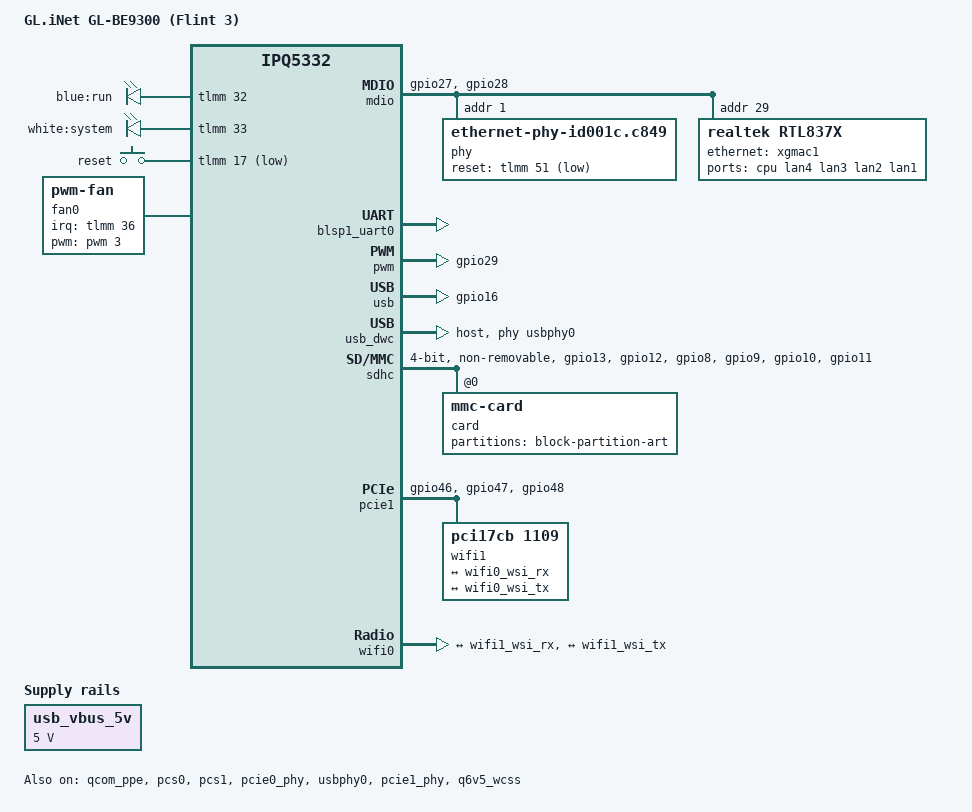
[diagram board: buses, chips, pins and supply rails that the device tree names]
// SPDX-License-Identifier: (GPL-2.0+ OR BSD-3-Clause)

/dts-v1/;

#include <arm64/qcom/ipq5332.dtsi>

#include <dt-bindings/gpio/gpio.h>
#include <dt-bindings/input/input.h>
#include <dt-bindings/leds/common.h>
#include <dt-bindings/clock/qcom,ipq5332-nsscc.h>

/ {
	#address-cells = <0x2>;
	#size-cells = <0x2>;
	model = "GL.iNet GL-BE9300 (Flint 3)";
	compatible = "gl.inet,gl-be9300", "qcom,ipq5332";

	aliases {
		serial0 = &blsp1_uart0;
	};

	chosen {
		stdout-path = "serial0:115200n8";
	};

	reserved-memory {
		#address-cells = <2>;
		#size-cells = <2>;
		ranges;

		/* TZ apps region is SBL-configured per board; Flint 3 vendor
		 * DT places it at 0x49b00000 (BE6500 uses 0x49600000). */
		tzapp: tzapp@49b00000 {
			reg = <0x0 0x49b00000 0x0 0x00600000>;
			no-map;
		};

		/*
		 * UserPD host DDR / BDF window. Deliberately an overlapping
		 * sub-window of the tail of q6_region: the Q6 images end below
		 * 0x4b500000, so the code occupies the first 12 MiB and this
		 * the remaining 23 MiB. 0x4a900000 + 0xc00000 = 0x4b500000,
		 * exactly what the vendor DT states as qcom,bdf-addr.
		 * of_reserved_mem logs "OVERLAP DETECTED" for this and
		 * continues; that is expected, not a fault.
		 */
		q6_host_ddr: host-ddr@4b500000 {
			reg = <0x0 0x4b500000 0x0 0x01700000>;
			no-map;
		};

		m3_dump: m3-dump@4cc00000 {
			reg = <0x0 0x4cc00000 0x0 0x100000>;
			no-map;
		};

		/* Not consumed by ath12k; reserved so Linux keeps out of the
		 * coresight ETR dump window the vendor DT also reserves. */
		q6_etr: q6-etr-dump@4cd00000 {
			reg = <0x0 0x4cd00000 0x0 0x100000>;
			no-map;
		};

		q6_caldb: q6-caldb@4ce00000 {
			reg = <0x0 0x4ce00000 0x0 0x500000>;
			no-map;
		};

		/*
		 * Persist the kernel log across a reboot. This board has no
		 * usable serial console, so a boot loop is otherwise silent:
		 * ramoops keeps dmesg and the console in RAM through a warm
		 * reset and exposes them under /sys/fs/pstore on the next boot
		 * (including a TFTP initramfs rescue boot).
		 *
		 * q6-caldb now ends at 0x4d2fffff and mlo-global-mem starts at
		 * 0x4db00000, so 0x4d300000..0x4dafffff (8 MiB) is unreserved and
		 * ramoops sits at the top of it - verified against the live
		 * "OF: reserved mem" map, not just the DTS.
		 * Deliberately mapped (no "no-map"): ramoops must write here.
		 */
		ramoops@4da00000 {
			compatible = "ramoops";
			reg = <0x0 0x4da00000 0x0 0x100000>;
			console-size = <0x40000>;
			record-size = <0x20000>;
			pmsg-size = <0x20000>;
		};

		mlo_mem: mlo-global-mem@4db00000 {
			reg = <0x0 0x4db00000 0x0 0x01200000>;
			no-map;
		};

		qcn9274_host_ddr: qcn9274-host-ddr@4ed00000 {
			reg = <0x0 0x4ed00000 0x0 0x03200000>;
			no-map;
		};
	};

	soc@0 {
		leds {
			compatible = "gpio-leds";
			pinctrl-0 = <&leds_pins>;
			pinctrl-names = "default";
			status = "okay";

			led@32 {
				label = "blue:run";
				gpios = <&tlmm 32 GPIO_ACTIVE_HIGH>;
				default-state = "on";
			};

			led@33 {
				label = "white:system";
				gpios = <&tlmm 33 GPIO_ACTIVE_HIGH>;
				default-state = "off";
			};
		};

		gpio_keys {
			compatible = "gpio-keys";
			pinctrl-0 = <&button_pins>;
			pinctrl-names = "default";
			status = "okay";

			reset {
				label = "reset";
				linux,code = <KEY_RESTART>;
				gpios = <&tlmm 17 GPIO_ACTIVE_LOW>;
				linux,input-type = <1>;
			};
		};

		fan0: pwm-fan {
			compatible = "pwm-fan";
			pinctrl-0 = <&fan_pins>;
			pinctrl-names = "default";
			pwms = <&pwm 3 40000 0>;
			interrupt-parent = <&tlmm>;
			interrupts = <36 IRQ_TYPE_EDGE_RISING>;
			pulses-per-revolution = <2>;
			cooling-levels = <36 128 192 255>;
			#cooling-cells = <2>;
		};

		mdio: mdio@90000 {
			compatible = "qcom,ipq4019-mdio";
			reg = <0x90000 0x64>;
			pinctrl-0 = <&mdio1_pins &mdio0_pins>;
			pinctrl-names = "default";
			#address-cells = <1>;
			#size-cells = <0>;
			clocks = <&gcc GCC_MDIO_AHB_CLK>;
			clock-names = "gcc_mdio_ahb_clk";
			status = "disabled";
		};
	};

	thermal-zones {
		cpu-top-thermal {
			polling-delay = <1000>;

			trips {
				fan_trip_high: active-high {
					temperature = <100000>;
					hysteresis = <2000>;
					type = "active";
				};

				fan_trip_med: active-med {
					temperature = <75000>;
					hysteresis = <2000>;
					type = "active";
				};

				fan_trip_low: active-low {
					temperature = <50000>;
					hysteresis = <2000>;
					type = "active";
				};
			};

			cooling-maps {
				fan-active-high {
					cooling-device = <&fan0 3 3>;
					trip = <&fan_trip_high>;
				};

				fan-active-med {
					cooling-device = <&fan0 2 2>;
					trip = <&fan_trip_med>;
				};

				fan-active-low {
					cooling-device = <&fan0 1 1>;
					trip = <&fan_trip_low>;
				};
			};
		};
	};
};

/ {
	usb_vbus_5v: regulator-usb-vbus {
		compatible = "regulator-fixed";
		regulator-name = "usb_vbus_5v";
		regulator-min-microvolt = <5000000>;
		regulator-max-microvolt = <5000000>;
		regulator-boot-on;
		regulator-always-on;
	};
};

&blsp1_uart0 {
	pinctrl-0 = <&serial_0_pins>;
	pinctrl-names = "default";
	status = "okay";
};

&pwm {
	#pwm-cells = <2>;
	pinctrl-0 = <&pwm_pins>;
	pinctrl-names = "default";
	used-pwm-indices = <0>, <0>, <0>, <1>;
	status = "okay";
};

&tlmm {
	leds_pins: leds_pinmux {
		led_blue {
			pins = "gpio32";
			function = "gpio";
			drive-strength = <8>;
			bias-pull-down;
		};

		led_white {
			pins = "gpio33";
			function = "gpio";
			drive-strength = <8>;
			bias-pull-down;
		};
	};

	button_pins: button_pins {
		reset_button {
			pins = "gpio17";
			function = "gpio";
			drive-strength = <8>;
			bias-pull-up;
		};
	};

	pwm_pins: pwm_pinmux {
		pwm1 {
			pins = "gpio29";
			function = "pwm1";
			drive-strength = <8>;
		};
	};

	fan_pins: fan_pins {
		pwr {
			pins = "gpio34";
			function = "gpio";
			bias-pull-up;
			output-high;
		};
		speed {
			pins = "gpio36";
			function = "gpio";
			drive-strength = <8>;
			bias-pull-down;
		};
	};

	usb_pins: usb_pins {
		usb_pwr {
			pins = "gpio16";
			function = "gpio";
			bias-pull-up;
			output-high;
		};
	};

	sdc_default_state: sdc-default-state {
		clk-pins {
			pins = "gpio13";
			function = "sdc_clk";
			drive-strength = <8>;
			bias-disable;
		};

		cmd-pins {
			pins = "gpio12";
			function = "sdc_cmd";
			drive-strength = <8>;
			bias-pull-up;
		};

		data-pins {
			pins = "gpio8", "gpio9", "gpio10", "gpio11";
			function = "sdc_data";
			drive-strength = <8>;
			bias-pull-up;
		};
	};

	pcie1_default: pcie1-default-state {
		clkreq-n-pins {
			pins = "gpio46";
			function = "pcie1_clk";
			drive-strength = <8>;
			bias-pull-up;
		};

		perst-n-pins {
			pins = "gpio47";
			function = "gpio";
			drive-strength = <8>;
			bias-pull-up;
			output-low;
		};

		wake-n-pins {
			pins = "gpio48";
			function = "pcie1_wake";
			drive-strength = <8>;
			bias-pull-up;
		};
	};

	mdio0_pins: mdio0-state {
		mux_0 {
			pins = "gpio25";
			function = "mdc0";
			drive-strength = <8>;
			bias-disable;
		};

		mux_1 {
			pins = "gpio26";
			function = "mdio0";
			drive-strength = <8>;
			bias-pull-up;
		};
	};

	mdio1_pins: mdio1-state {
		mux_0 {
			pins = "gpio27";
			function = "mdc1";
			drive-strength = <8>;
			bias-disable;
		};

		mux_1 {
			pins = "gpio28";
			function = "mdio1";
			drive-strength = <8>;
			bias-pull-up;
		};
	};
};

&mdio {
	status = "okay";
	pinctrl-0 = <&mdio1_pins>;
	pinctrl-names = "default";
	mdio_clk_fixup; /* MDIO clock sequence fix up flag */

	/*
	 * RTL8221B-VB-CG 2.5G WAN PHY. Vendor DT lists two MDIO reset
	 * GPIOs: 51 and 24. Per our May bring-up notes 51 is the RTL8221B
	 * and 24 the RTL8372N switch (BE6500 uses 24 for its PHY — if the
	 * WAN PHY fails to probe, swap to 24 here).
	 */
	phy: ethernet-phy@1 {
		compatible = "ethernet-phy-id001c.c849";
		reg = <1>;
		reset-gpios = <&tlmm 51 GPIO_ACTIVE_LOW>;
		reset-assert-us = <10000>;
		reset-deassert-us = <50000>;
	};

	/*
	 * RTL8372N switch (4x 2.5G LAN + 10G SerDes uplink to xgmac1).
	 * No reset-gpios: U-Boot leaves the switch initialized with SDS0
	 * in 10G mode and port 3 linked; the driver re-inits from there.
	 * The four sdsN-rx/tx-swap flags are required on this board, same as
	 * BE6500. Without them the 10G CPU link still reports up, but no
	 * traffic crosses it in either direction (bench-verified 2026-07-27:
	 * swap_cfg 0x0 = dead LAN path, swap_cfg 0xf = LAN path works).
	 */
	rtl837x: rtl837x-dsa@29 {
		compatible = "realtek,rtl837x";
		#address-cells = <1>;
		#size-cells = <0>;
		reg = <29>;
		rtl837x,sds0mode = "10g-kr";
		gpio-controller;
		#gpio-cells = <2>;

		sds0-rx-swap;
		sds0-tx-swap;
		sds1-rx-swap;
		sds1-tx-swap;

		ports {
			#address-cells = <1>;
			#size-cells = <0>;

			port@3 {
				reg = <3>;
				label = "cpu";
				ethernet = <&xgmac1>;
				phy-mode = "10gbase-r";

				fixed-link {
					speed = <10000>;
					full-duplex;
				};
			};

			/*
			 * Front-panel jack mapping, verified 2026-07-27 by
			 * walking one cable through all four jacks and
			 * watching which netdev gained carrier:
			 * LAN1=port7, LAN2=port6, LAN3=port5, LAN4=port4.
			 * This matches the vendor device tree; the May-2026
			 * note that had lan2/lan3 the other way round was
			 * wrong.
			 */
			port@4 {
				reg = <4>;
				label = "lan4";
				phy-mode = "internal";
			};

			port@5 {
				reg = <5>;
				label = "lan3";
				phy-mode = "internal";
			};

			port@6 {
				reg = <6>;
				label = "lan2";
				phy-mode = "internal";
			};

			port@7 {
				reg = <7>;
				label = "lan1";
				phy-mode = "internal";
			};
		};
	};
};

&qcom_ppe {
	status = "okay";

	ethernet-ports {
		#address-cells = <1>;
		#size-cells = <0>;

		xgmac1: port@1 {
			reg = <1>;
			phy-mode = "10gbase-r";
			label = "lan";
			pcs-handle = <&pcs0_ch0>;
			phy-handle = <&rtl837x>;
			nvmem-cells = <&base_macaddr 2>;
			nvmem-cell-names = "mac-address";
			clocks = <&nsscc NSS_CC_PORT1_MAC_CLK>,
				 <&nsscc NSS_CC_PORT1_RX_CLK>,
				 <&nsscc NSS_CC_PORT1_TX_CLK>;
			clock-names = "mac",
				      "rx",
				      "tx";
			resets = <&nsscc NSS_CC_PORT1_MAC_CLK_ARES>,
				 <&nsscc NSS_CC_PORT1_RX_CLK_ARES>,
				 <&nsscc NSS_CC_PORT1_TX_CLK_ARES>;
			reset-names = "mac",
				      "rx",
				      "tx";

			fixed-link {
				speed = <10000>;
				full-duplex;
				pause;
			};
		};

		xgmac2: port@2 {
			reg = <2>;
			phy-mode = "usxgmii";
			managed = "in-band-status";
			label = "wan";
			pcs-handle = <&pcs1_ch0>;
			phy-handle = <&phy>;
			nvmem-cells = <&base_macaddr 0>;
			nvmem-cell-names = "mac-address";

			clocks = <&nsscc NSS_CC_PORT2_MAC_CLK>,
				 <&nsscc NSS_CC_PORT2_RX_CLK>,
				 <&nsscc NSS_CC_PORT2_TX_CLK>;
			clock-names = "mac",
				      "rx",
				      "tx";
			resets = <&nsscc NSS_CC_PORT2_MAC_CLK_ARES>,
				 <&nsscc NSS_CC_PORT2_RX_CLK_ARES>,
				 <&nsscc NSS_CC_PORT2_TX_CLK_ARES>;
			reset-names = "mac",
				      "rx",
				      "tx";
		};
	};
};

&pcs0 {
	status = "okay";
};

&pcs1 {
	status = "okay";
};

&pcie0_phy {
	status = "okay";
	compatible = "qcom,ipq5332-usb-uniphy";
	clocks = <&gcc GCC_USB0_PIPE_CLK>,
		 <&gcc GCC_USB0_PHY_CFG_AHB_CLK>,
		 <&gcc GCC_PCIE3X1_PHY_AHB_CLK>;
	clock-names = "pipe", "phy_cfg_ahb", "phy_ahb";
	resets = <&gcc GCC_USB0_PHY_BCR>;
	reset-names = "por_rst";
	#clock-cells = <0>;
	#phy-cells = <0>;
	clock-output-names = "usb0_pipe_clk_src";
	qcom,phy-usb-mux-sel = <&tcsr 0x10540>;
	vdd-supply = <&usb_vbus_5v>;

	/delete-property/ num-lanes;
};

&usb {
	pinctrl-0 = <&usb_pins>;
	pinctrl-names = "default";
	status = "okay";
	clocks = <&gcc GCC_USB0_MASTER_CLK>,
		 <&gcc GCC_USB0_SLEEP_CLK>,
		 <&gcc GCC_USB0_MOCK_UTMI_CLK>,
		 <&gcc GCC_USB0_AUX_CLK>,
		 <&gcc GCC_USB0_LFPS_CLK>;
	clock-names = "core", "sleep", "mock_utmi", "aux", "lfps";

	/delete-property/ qcom,select-utmi-as-pipe-clk;
};

&usb_dwc {
	status = "okay";
	phys = <&usbphy0>, <&pcie0_phy>;
	phy-names = "usb2-phy", "usb3-phy";
	dr_mode = "host";
	maximum-speed = "super-speed";
};


&usbphy0 {
	status = "okay";
	vdd-supply = <&usb_vbus_5v>;
};

/* eMMC 5.1, 8 GB — Flint 3 boots from eMMC (BE6500 is SPI-NAND). */
&sdhc {
	#address-cells = <1>;
	#size-cells = <0>;
	bus-width = <4>;
	max-frequency = <192000000>;
	mmc-ddr-1_8v;
	mmc-hs200-1_8v;
	non-removable;
	pinctrl-0 = <&sdc_default_state>;
	pinctrl-names = "default";
	status = "okay";

	card@0 {
		compatible = "mmc-card";
		reg = <0>;

		partitions {
			compatible = "gpt-partitions";

			block-partition-art {
				partname = "0:ART";

				nvmem-layout {
					compatible = "fixed-layout";
					#address-cells = <1>;
					#size-cells = <1>;

					base_macaddr: mac-address@a {
						compatible = "mac-base";
						reg = <0xa 0x6>;
						#nvmem-cell-cells = <1>;
					};
				};
			};
		};
	};
};

&pcie1_phy {
	status = "okay";
};

&pcie1 {
	status = "okay";

	pinctrl-0 = <&pcie1_default>;
	pinctrl-names = "default";

	perst-gpios = <&tlmm 47 GPIO_ACTIVE_LOW>;
	wake-gpios = <&tlmm 48 GPIO_ACTIVE_LOW>;

	pcie@0 {
		/*
		 * QCN9274/QCN6274 dualmac package: MAC0 = 5 GHz,
		 * MAC1 = 6 GHz. OTP board-id is unprovisioned (0xff), so
		 * both board-id and radio count come from DT. Vendor CNSS
		 * uses board_id 0x1019 for this radio.
		 */
		wifi1: pcie@0 {
			compatible = "pci17cb,1109";
			reg = <0x00010000  0 0 0 0>;
			memory-region = <&qcn9274_host_ddr>, <&mlo_mem>;
			memory-region-names = "host-ddr-mem", "mlo-global-mem";
			qcom,ath12k-fw-memory-mode = <1>;
			qcom,board-id = <0x1019>;
			qcom,num-radios = <2>;

			ports {
				#address-cells = <1>;
				#size-cells = <0>;

				port@0 {
					reg = <0>;

					wifi1_wsi_tx: endpoint {
						remote-endpoint = <&wifi0_wsi_rx>;
					};
				};

				port@1 {
					reg = <1>;

					wifi1_wsi_rx: endpoint {
						remote-endpoint = <&wifi0_wsi_tx>;
					};
				};
			};
		};
	};
};

/*
 * The bootstrap pins for the board select the XO clock frequency that
 * supports 48 MHZ or 96 MHZ. This setting automatically enables the
 * right dividers, to ensure the reference clock output from WiFi to
 * the CMN PLL is 48 MHZ.
 */
&ref_48mhz_clk {
	clock-div = <1>;
	clock-mult = <1>;
};

&sleep_clk {
	clock-frequency = <32000>;
};

/*
 * The frequency of xo_board is fixed to 24 MHZ, which is routed
 * from WiFi output clock 48 MHZ divided by 2.
 */
&xo_board {
	clock-div = <2>;
	clock-mult = <1>;
};

&xo_clk {
	clock-frequency = <48000000>;
};

/* IPQ5332 integrated 2.4 GHz radio (AHB). Vendor board_id 0x12 = 18,
 * same as GL-BE6500. */
&wifi0 {
	firmware-name = "ath12k/IPQ5332/hw1.0/q6_fw1.mdt",
			"ath12k/IPQ5332/hw1.0/iu_fw.mdt";
	/* Order matters: ath12k still resolves the UserPD image by INDEX 0
	 * (ahb.c), so "q6-region" must stay first. The rest are by name. */
	memory-region = <&q6_region>, <&q6_host_ddr>, <&m3_dump>, <&q6_caldb>,
			<&mlo_mem>, <&q6_etr>;
	memory-region-names = "q6-region", "host-ddr-mem", "m3-dump", "q6-caldb",
			      "mlo-global-mem", "q6-etr-dump";
	qcom,board-id = <18>;
	qcom,rproc = <&q6v5_wcss>;
	qcom,wsi-controller;
	status = "okay";

	ports {
		#address-cells = <1>;
		#size-cells = <0>;

		port@0 {
			reg = <0>;

			wifi0_wsi_tx: endpoint {
				remote-endpoint = <&wifi1_wsi_rx>;
			};
		};

		port@1 {
			reg = <1>;

			wifi0_wsi_rx: endpoint {
				remote-endpoint = <&wifi1_wsi_tx>;
			};
		};
	};
};

&q6v5_wcss {
	firmware-name = "ath12k/IPQ5332/hw1.0/q6_fw0.mdt";
	qcom,bootargs_smem = <507>;
	qcom,bootargs_version = <2>;
	upd-firmware-names = "ath12k/IPQ5332/hw1.0/q6_fw1.mdt";
	status = "okay";
};

/*
 * The target patch that adds q6_region sizes it at 0x2b00000 (43 MiB) for the
 * RDP reference board. The live vendor DT for this board says the Q6 span is
 * wcnss@4a900000 + 0x2300000 (35 MiB), ending at 0x4cc00000 where m3-dump
 * begins. Leaving it at 43 MiB would overlap m3-dump, q6-etr-dump and q6-caldb,
 * and of_reserved_mem only warns - firmware would then be free to write over
 * caldata. Our ath12k blobs reach 0x4b2cbff8, so 35 MiB leaves ~25 MiB spare.
 */
&q6_region {
	reg = <0x0 0x4a900000 0x0 0x02300000>;
};
